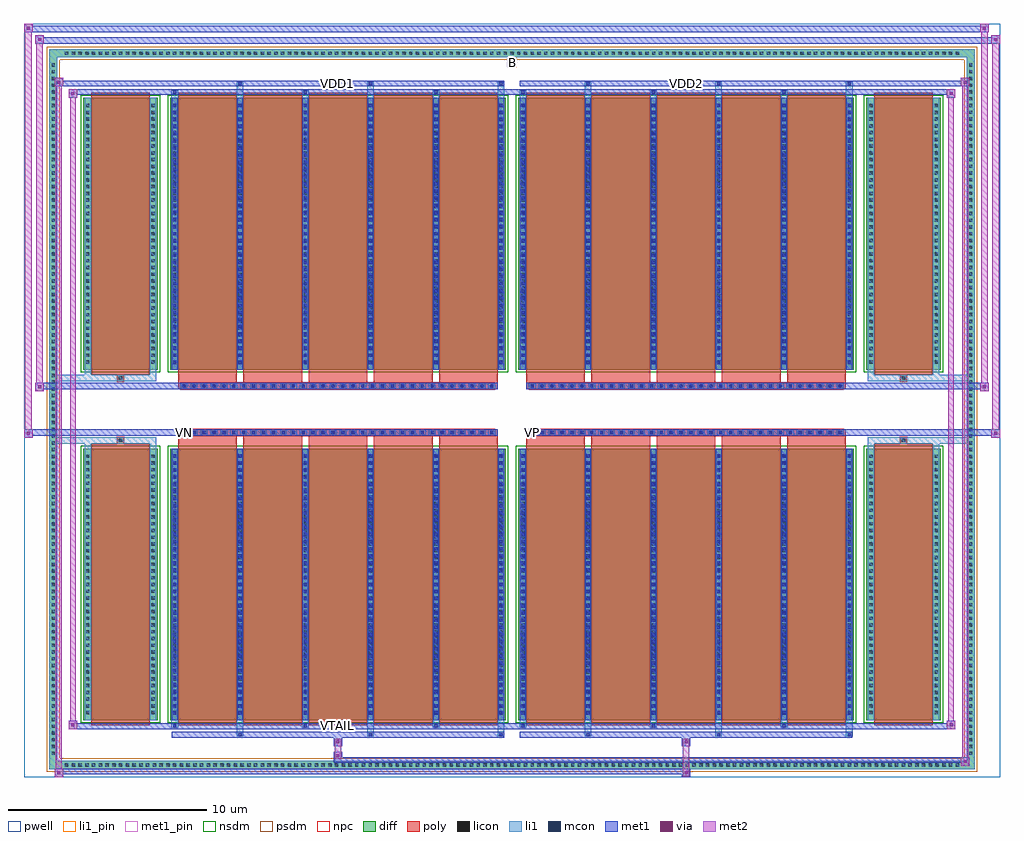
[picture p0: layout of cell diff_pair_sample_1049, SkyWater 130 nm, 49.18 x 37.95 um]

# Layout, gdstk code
import gdstk
lib = gdstk.Library(unit=1e-6, precision=5e-09)
def R(c, l, rs):  # rectangles x0, y0, x1, y1
    for r in rs: c.add(gdstk.rectangle(r[:2], r[2:], *l))
def A(c, l, x, y, w, h, nx, ny, dx, dy):  # array of equal rectangles
    R(c, l, [(x+i*dx, y+j*dy, x+i*dx+w, y+j*dy+h) for i in range(nx) for j in range(ny)])
def P(c, l, *ps):  # polygons
    for p in ps: c.add(gdstk.Polygon(p, *l))
pwell = (64, 44)
diff = (65, 20)
poly = (66, 20)
licon = (66, 44)
li1_pin = (67, 16)
li1 = (67, 20)
mcon = (67, 44)
met1_pin = (68, 16)
met1 = (68, 20)
via = (68, 44)
met2 = (69, 20)
nsdm = (93, 44)
psdm = (94, 20)
npc = (95, 20)

diff_pair_sample_1049 = lib.new_cell('diff_pair_sample_1049')
R(diff_pair_sample_1049, pwell, [(-24.59,-18.54,24.59,19.41), (-21.91,-16.73,-0.01,-0.805), (0.01,-16.73,21.91,-0.805), (-21.91,0.805,-0.01,16.73), (0.01,0.805,21.91,16.73)])
A(diff_pair_sample_1049, diff, -22.645, -18.14, 0.41, 0.41, 133, 2, 0.34, 35.87)
A(diff_pair_sample_1049, diff, -23.32, -17.545, 0.41, 0.41, 1, 103, 0, 0.34)
A(diff_pair_sample_1049, diff, 22.91, -17.545, 0.41, 0.41, 1, 103, 0, 0.34)
R(diff_pair_sample_1049, diff, [(-22.645,-18.14,22.645,-17.73), (-23.32,-17.545,-22.91,17.545), (22.91,-17.545,23.32,17.545), (-21.6,-15.685,-17.86,-1.985), (-17.22,-15.685,-0.32,-1.985), (0.32,-15.685,17.22,-1.985), (17.86,-15.685,21.6,-1.985), (-21.6,1.985,-17.86,15.685), (-17.22,1.985,-0.32,15.685), (0.32,1.985,17.22,15.685), (17.86,1.985,21.6,15.685), (-22.645,17.73,22.645,18.14)])
P(diff_pair_sample_1049, diff, [(23.32,18.14),(-23.32,18.14),(-23.32,-17.73),(-22.91,-17.73),(-22.91,17.73),(22.91,17.73),(22.91,-17.73),(-22.91,-17.73),(-23.32,-17.73),(-23.32,-18.14),(23.32,-18.14)])
A(diff_pair_sample_1049, poly, -16.83, -15.935, 2.96, 14.2, 5, 2, 3.29, 17.67)
A(diff_pair_sample_1049, poly, 0.71, -15.935, 2.96, 14.2, 5, 2, 3.29, 17.67)
A(diff_pair_sample_1049, poly, -16.83, -1.735, 2.96, 0.4, 5, 2, 3.29, 3.07)
A(diff_pair_sample_1049, poly, 0.71, -1.735, 2.96, 0.4, 5, 2, 3.29, 3.07)
A(diff_pair_sample_1049, poly, -16.685, -1.335, 0.33, 0.33, 32, 2, 0.5, 2.34)
A(diff_pair_sample_1049, poly, 0.855, -1.335, 0.33, 0.33, 32, 2, 0.5, 2.34)
R(diff_pair_sample_1049, poly, [(-21.21,-15.935,-18.25,-1.735), (18.25,-15.935,21.21,-1.735), (-19.895,-1.735,-19.565,-1.405), (-19.895,-1.735,-19.565,-1.405), (19.565,-1.735,19.895,-1.405), (19.565,-1.735,19.895,-1.405), (-16.83,-1.335,-0.71,-1.005), (0.71,-1.335,16.83,-1.005), (-16.83,1.005,-0.71,1.335), (0.71,1.005,16.83,1.335), (-19.895,1.405,-19.565,1.735), (-19.895,1.405,-19.565,1.735), (19.565,1.405,19.895,1.735), (19.565,1.405,19.895,1.735), (-21.21,1.735,-18.25,15.935), (18.25,1.735,21.21,15.935)])
A(diff_pair_sample_1049, licon, -22.525, -18.02, 0.17, 0.17, 133, 2, 0.34, 35.87)
A(diff_pair_sample_1049, licon, -23.2, -17.425, 0.17, 0.17, 1, 103, 0, 0.34)
A(diff_pair_sample_1049, licon, 23.03, -17.425, 0.17, 0.17, 1, 103, 0, 0.34)
A(diff_pair_sample_1049, licon, -21.46, -15.38, 0.17, 0.17, 1, 39, 0, 0.34)
A(diff_pair_sample_1049, licon, -18.17, -15.38, 0.17, 0.17, 1, 39, 0, 0.34)
A(diff_pair_sample_1049, licon, -17.08, -15.38, 0.17, 0.17, 6, 39, 3.29, 0.34)
A(diff_pair_sample_1049, licon, 0.46, -15.38, 0.17, 0.17, 6, 39, 3.29, 0.34)
A(diff_pair_sample_1049, licon, 18, -15.38, 0.17, 0.17, 1, 39, 0, 0.34)
A(diff_pair_sample_1049, licon, 21.29, -15.38, 0.17, 0.17, 1, 39, 0, 0.34)
A(diff_pair_sample_1049, licon, -16.605, -1.255, 0.17, 0.17, 32, 2, 0.5, 2.34)
A(diff_pair_sample_1049, licon, 0.935, -1.255, 0.17, 0.17, 32, 2, 0.5, 2.34)
A(diff_pair_sample_1049, licon, -21.46, 2.29, 0.17, 0.17, 1, 39, 0, 0.34)
A(diff_pair_sample_1049, licon, -18.17, 2.29, 0.17, 0.17, 1, 39, 0, 0.34)
A(diff_pair_sample_1049, licon, -17.08, 2.29, 0.17, 0.17, 6, 39, 3.29, 0.34)
A(diff_pair_sample_1049, licon, 0.46, 2.29, 0.17, 0.17, 6, 39, 3.29, 0.34)
A(diff_pair_sample_1049, licon, 18, 2.29, 0.17, 0.17, 1, 39, 0, 0.34)
A(diff_pair_sample_1049, licon, 21.29, 2.29, 0.17, 0.17, 1, 39, 0, 0.34)
R(diff_pair_sample_1049, licon, [(-19.815,-1.655,-19.645,-1.485), (19.645,-1.655,19.815,-1.485), (-19.815,1.485,-19.645,1.655), (19.645,1.485,19.815,1.655)])
R(diff_pair_sample_1049, li1_pin, [(-0.25,17.23,0.25,17.73)])
A(diff_pair_sample_1049, li1, -22.605, -18.1, 0.33, 0.33, 133, 2, 0.34, 35.87)
A(diff_pair_sample_1049, li1, -23.28, -17.505, 0.33, 0.33, 1, 103, 0, 0.34)
A(diff_pair_sample_1049, li1, 22.95, -17.505, 0.33, 0.33, 1, 103, 0, 0.34)
A(diff_pair_sample_1049, li1, -13.87, -16.49, 0.33, 0.805, 3, 2, 6.58, 32.175)
A(diff_pair_sample_1049, li1, -13.79, -16.49, 0.17, 0.17, 3, 2, 6.58, 32.81)
A(diff_pair_sample_1049, li1, 3.67, -16.49, 0.33, 0.805, 3, 2, 6.58, 32.175)
A(diff_pair_sample_1049, li1, 3.75, -16.49, 0.17, 0.17, 3, 2, 6.58, 32.81)
A(diff_pair_sample_1049, li1, -17.16, -16.06, 0.33, 0.375, 3, 2, 6.58, 31.745)
A(diff_pair_sample_1049, li1, -17.08, -16.06, 0.17, 0.17, 3, 2, 6.58, 31.95)
A(diff_pair_sample_1049, li1, 0.38, -16.06, 0.33, 0.375, 3, 2, 6.58, 31.745)
A(diff_pair_sample_1049, li1, 0.46, -16.06, 0.17, 0.17, 3, 2, 6.58, 31.95)
A(diff_pair_sample_1049, li1, -17.16, -15.685, 0.33, 13.7, 6, 2, 3.29, 17.67)
A(diff_pair_sample_1049, li1, 0.38, -15.685, 0.33, 13.7, 6, 2, 3.29, 17.67)
A(diff_pair_sample_1049, li1, -21.54, -15.46, 0.33, 0.33, 1, 39, 0, 0.34)
A(diff_pair_sample_1049, li1, -18.25, -15.46, 0.33, 0.33, 1, 39, 0, 0.34)
A(diff_pair_sample_1049, li1, -17.16, -15.46, 0.33, 0.33, 6, 39, 3.29, 0.34)
A(diff_pair_sample_1049, li1, 0.38, -15.46, 0.33, 0.33, 6, 39, 3.29, 0.34)
A(diff_pair_sample_1049, li1, 17.92, -15.46, 0.33, 0.33, 1, 39, 0, 0.34)
A(diff_pair_sample_1049, li1, 21.21, -15.46, 0.33, 0.33, 1, 39, 0, 0.34)
A(diff_pair_sample_1049, li1, -17.08, -15.4, 0.17, 0.17, 6, 37, 3.29, 0.36)
A(diff_pair_sample_1049, li1, -17.08, -15.4, 0.17, 13.13, 6, 2, 3.29, 17.67)
A(diff_pair_sample_1049, li1, 0.46, -15.4, 0.17, 0.17, 6, 37, 3.29, 0.36)
A(diff_pair_sample_1049, li1, 0.46, -15.4, 0.17, 13.13, 6, 2, 3.29, 17.67)
A(diff_pair_sample_1049, li1, -16.685, -1.335, 0.33, 0.33, 32, 2, 0.5, 2.34)
A(diff_pair_sample_1049, li1, 0.855, -1.335, 0.33, 0.33, 32, 2, 0.5, 2.34)
A(diff_pair_sample_1049, li1, -21.54, 2.21, 0.33, 0.33, 1, 39, 0, 0.34)
A(diff_pair_sample_1049, li1, -18.25, 2.21, 0.33, 0.33, 1, 39, 0, 0.34)
A(diff_pair_sample_1049, li1, -17.16, 2.21, 0.33, 0.33, 6, 39, 3.29, 0.34)
A(diff_pair_sample_1049, li1, 0.38, 2.21, 0.33, 0.33, 6, 39, 3.29, 0.34)
A(diff_pair_sample_1049, li1, 17.92, 2.21, 0.33, 0.33, 1, 39, 0, 0.34)
A(diff_pair_sample_1049, li1, 21.21, 2.21, 0.33, 0.33, 1, 39, 0, 0.34)
A(diff_pair_sample_1049, li1, -17.08, 2.27, 0.17, 0.17, 6, 37, 3.29, 0.36)
A(diff_pair_sample_1049, li1, 0.46, 2.27, 0.17, 0.17, 6, 37, 3.29, 0.36)
R(diff_pair_sample_1049, li1, [(-23.32,-18.14,-22.91,-17.73), (-23.32,-18.14,-22.91,-17.73), (-22.91,-18.14,22.91,-17.73), (22.91,-18.14,23.32,-17.73), (22.91,-18.14,23.32,-17.73), (-23.32,-17.73,-22.91,17.73), (22.91,-17.73,23.32,17.73), (-21.54,-15.685,-21.21,-1.985), (-18.25,-15.685,-17.92,-1.985), (17.92,-15.685,18.25,-1.985), (21.21,-15.685,21.54,-1.985), (-21.54,-1.985,-21.21,-1.405), (-18.25,-1.985,-17.92,-1.405), (17.92,-1.985,18.25,-1.405), (21.21,-1.985,21.54,-1.405), (-23.32,-1.735,-19.895,-1.405), (-21.54,-1.735,-19.895,-1.405), (-19.895,-1.735,-19.565,-1.405), (-19.565,-1.735,-17.92,-1.405), (17.92,-1.735,19.565,-1.405), (19.565,-1.735,19.895,-1.405), (19.565,-1.735,23.32,-1.405), (19.895,-1.735,21.54,-1.405), (-23.32,1.405,-19.895,1.735), (-21.54,1.405,-19.895,1.735), (-21.54,1.405,-21.21,1.985), (-19.895,1.405,-19.565,1.735), (-19.565,1.405,-17.92,1.735), (-18.25,1.405,-17.92,1.985), (17.92,1.405,19.565,1.735), (17.92,1.405,18.25,1.985), (19.565,1.405,19.895,1.735), (19.565,1.405,23.32,1.735), (19.895,1.405,21.54,1.735), (21.21,1.405,21.54,1.985), (-21.54,1.985,-21.21,15.685), (-18.25,1.985,-17.92,15.685), (17.92,1.985,18.25,15.685), (21.21,1.985,21.54,15.685), (-23.32,17.73,-22.91,18.14), (-23.32,17.73,-22.91,18.14), (-22.91,17.73,22.91,18.14), (22.91,17.73,23.32,18.14), (22.91,17.73,23.32,18.14)])
A(diff_pair_sample_1049, mcon, -13.79, -16.49, 0.17, 0.17, 3, 2, 6.58, 32.81)
A(diff_pair_sample_1049, mcon, 3.75, -16.49, 0.17, 0.17, 3, 2, 6.58, 32.81)
A(diff_pair_sample_1049, mcon, -17.08, -16.06, 0.17, 0.17, 3, 2, 6.58, 31.95)
A(diff_pair_sample_1049, mcon, 0.46, -16.06, 0.17, 0.17, 3, 2, 6.58, 31.95)
A(diff_pair_sample_1049, mcon, -17.08, -15.4, 0.17, 0.17, 6, 37, 3.29, 0.36)
A(diff_pair_sample_1049, mcon, 0.46, -15.4, 0.17, 0.17, 6, 37, 3.29, 0.36)
A(diff_pair_sample_1049, mcon, -16.605, -1.255, 0.17, 0.17, 32, 2, 0.5, 2.34)
A(diff_pair_sample_1049, mcon, 0.935, -1.255, 0.17, 0.17, 32, 2, 0.5, 2.34)
A(diff_pair_sample_1049, mcon, -17.08, 2.27, 0.17, 0.17, 6, 37, 3.29, 0.36)
A(diff_pair_sample_1049, mcon, 0.46, 2.27, 0.17, 0.17, 6, 37, 3.29, 0.36)
R(diff_pair_sample_1049, met1_pin, [(-8.905,-16.1,-8.635,-15.83), (-16.655,-1.295,-16.385,-1.025), (0.885,-1.295,1.155,-1.025), (-8.905,16.28,-8.635,16.55), (8.635,16.28,8.905,16.55)])
A(diff_pair_sample_1049, met1, -13.85, -16.55, 0.29, 0.29, 3, 2, 6.58, 32.81)
A(diff_pair_sample_1049, met1, 3.69, -16.55, 0.29, 0.29, 3, 2, 6.58, 32.81)
A(diff_pair_sample_1049, met1, -17.14, -16.12, 0.29, 0.29, 3, 2, 6.58, 31.95)
A(diff_pair_sample_1049, met1, 0.4, -16.12, 0.29, 0.29, 3, 2, 6.58, 31.95)
A(diff_pair_sample_1049, met1, -17.14, -15.685, 0.29, 13.7, 6, 2, 3.29, 17.67)
A(diff_pair_sample_1049, met1, 0.4, -15.685, 0.29, 13.7, 6, 2, 3.29, 17.67)
A(diff_pair_sample_1049, met1, -17.14, -15.46, 0.29, 0.29, 6, 37, 3.29, 0.36)
A(diff_pair_sample_1049, met1, 0.4, -15.46, 0.29, 0.29, 6, 37, 3.29, 0.36)
A(diff_pair_sample_1049, met1, -16.665, -1.315, 0.29, 0.29, 32, 2, 0.5, 2.34)
A(diff_pair_sample_1049, met1, 0.875, -1.315, 0.29, 0.29, 32, 2, 0.5, 2.34)
A(diff_pair_sample_1049, met1, -17.14, 2.21, 0.29, 0.29, 6, 37, 3.29, 0.36)
A(diff_pair_sample_1049, met1, 0.4, 2.21, 0.29, 0.29, 6, 37, 3.29, 0.36)
R(diff_pair_sample_1049, met1, [(-23.05,-18.54,-22.62,-18.11), (8.555,-18.54,8.985,-18.11), (-23.05,-18.4,8.985,-18.11), (22.62,-17.97,23.05,-17.54), (-8.985,-17.83,23.05,-17.54), (-8.985,-17.69,-8.555,-17.26), (-8.985,-16.98,-8.555,-16.55), (8.555,-16.98,8.985,-16.55), (-17.14,-16.55,-0.4,-16.26), (0.4,-16.55,17.14,-16.26), (-22.34,-16.12,-21.91,-15.69), (-22.34,-16.12,-17.14,-15.83), (-17.14,-16.12,-0.4,-15.83), (-0.4,-16.12,0.4,-15.83), (0.4,-16.12,17.14,-15.83), (17.14,-16.12,22.34,-15.83), (21.91,-16.12,22.34,-15.69), (-24.59,-1.435,-24.16,-1.005), (24.16,-1.435,24.59,-1.005), (-24.59,-1.335,-0.71,-1.005), (-16.83,-1.335,-0.71,-1.005), (0.71,-1.335,16.83,-1.005), (0.71,-1.335,24.59,-1.005), (-24.02,0.905,-23.59,1.335), (23.59,0.905,24.02,1.335), (-24.02,1.005,-16.83,1.335), (-16.83,1.005,-0.71,1.335), (0.71,1.005,16.83,1.335), (16.83,1.005,24.02,1.335), (-22.34,15.69,-21.91,16.12), (21.91,15.69,22.34,16.12), (-22.34,15.83,-17.14,16.12), (-17.14,15.83,-0.4,16.12), (-0.4,15.83,0.4,16.12), (0.4,15.83,17.14,16.12), (17.14,15.83,22.34,16.12), (-23.05,16.26,-22.62,16.69), (-23.05,16.26,-17.14,16.55), (-17.14,16.26,-0.4,16.55), (0.4,16.26,17.14,16.55), (17.14,16.26,23.05,16.55), (22.62,16.26,23.05,16.69), (-24.02,18.41,-23.59,18.84), (-24.02,18.41,-21.91,18.74), (-21.91,18.41,21.91,18.74), (21.91,18.41,24.59,18.74), (24.16,18.41,24.59,18.84), (-24.59,18.98,-24.16,19.41), (-24.59,18.98,-21.91,19.31), (-21.91,18.98,21.91,19.31), (21.91,18.98,24.02,19.31), (23.59,18.98,24.02,19.41)])
R(diff_pair_sample_1049, via, [(-22.91,-18.4,-22.76,-18.25), (8.695,-18.4,8.845,-18.25), (22.76,-17.83,22.91,-17.68), (-8.845,-17.55,-8.695,-17.4), (-8.845,-16.84,-8.695,-16.69), (8.695,-16.84,8.845,-16.69), (-22.2,-15.98,-22.05,-15.83), (22.05,-15.98,22.2,-15.83), (-24.45,-1.295,-24.3,-1.145), (24.3,-1.295,24.45,-1.145), (-23.88,1.045,-23.73,1.195), (23.73,1.045,23.88,1.195), (-22.2,15.83,-22.05,15.98), (22.05,15.83,22.2,15.98), (-22.91,16.4,-22.76,16.55), (22.76,16.4,22.91,16.55), (-23.88,18.55,-23.73,18.7), (24.3,18.55,24.45,18.7), (-24.45,19.12,-24.3,19.27), (23.73,19.12,23.88,19.27)])
R(diff_pair_sample_1049, met2, [(-23.05,-18.54,-22.62,-18.11), (-22.98,-18.54,-22.69,16.69), (-22.69,-18.54,-22.62,-18.11), (-23,-18.49,-22.67,-18.16), (8.605,-18.49,8.935,-18.16), (8.605,-18.16,8.935,-16.93), (22.62,-17.97,23.05,-17.54), (22.69,-17.97,22.98,16.69), (22.98,-17.97,23.05,-17.54), (22.67,-17.92,23,-17.59), (-8.935,-17.64,-8.605,-17.31), (-8.935,-17.31,-8.605,-16.93), (-8.935,-16.93,-8.605,-16.6), (8.605,-16.93,8.935,-16.6), (-22.34,-16.12,-21.91,-15.69), (-22.27,-16.12,-21.98,16.12), (-21.98,-16.12,-21.91,-15.69), (21.91,-16.12,22.34,-15.69), (21.98,-16.12,22.27,16.12), (22.27,-16.12,22.34,-15.69), (-22.29,-16.07,-21.96,-15.74), (21.96,-16.07,22.29,-15.74), (-24.59,-1.435,-24.16,-1.005), (-24.54,-1.435,-24.21,19.41), (-24.21,-1.435,-24.16,-1.005), (24.16,-1.435,24.59,-1.005), (24.21,-1.435,24.54,18.84), (24.54,-1.435,24.59,-1.005), (-24.54,-1.385,-24.21,-1.055), (24.21,-1.385,24.54,-1.055), (-24.02,0.905,-23.59,1.335), (-23.97,0.905,-23.64,18.84), (-23.64,0.905,-23.59,1.335), (23.59,0.905,24.02,1.335), (23.64,0.905,23.97,19.41), (23.97,0.905,24.02,1.335), (-23.97,0.955,-23.64,1.285), (23.64,0.955,23.97,1.285), (-22.34,15.69,-21.91,16.12), (-21.98,15.69,-21.91,16.12), (21.91,15.69,22.34,16.12), (22.27,15.69,22.34,16.12), (-22.29,15.74,-21.96,16.07), (21.96,15.74,22.29,16.07), (-23.05,16.26,-22.62,16.69), (-22.69,16.26,-22.62,16.69), (22.62,16.26,23.05,16.69), (22.98,16.26,23.05,16.69), (-23,16.31,-22.67,16.64), (22.67,16.31,23,16.64), (-24.02,18.41,-23.59,18.84), (-23.64,18.41,-23.59,18.84), (24.16,18.41,24.59,18.84), (24.54,18.41,24.59,18.84), (-23.97,18.46,-23.64,18.79), (24.21,18.46,24.54,18.79), (-24.59,18.98,-24.16,19.41), (-24.21,18.98,-24.16,19.41), (23.59,18.98,24.02,19.41), (23.97,18.98,24.02,19.41), (-24.54,19.03,-24.21,19.36), (23.64,19.03,23.97,19.36)])
R(diff_pair_sample_1049, nsdm, [(-21.73,-15.815,-17.73,-1.855), (-17.35,-15.815,-0.19,-1.855), (0.19,-15.815,17.35,-1.855), (17.73,-15.815,21.73,-1.855), (-21.73,1.855,-17.73,15.815), (-17.35,1.855,-0.19,15.815), (0.19,1.855,17.35,15.815), (17.73,1.855,21.73,15.815)])
P(diff_pair_sample_1049, psdm, [(23.45,18.27),(-23.45,18.27),(-23.45,-17.6),(-22.78,-17.6),(-22.78,17.6),(22.78,17.6),(22.78,-17.6),(-22.78,-17.6),(-23.45,-17.6),(-23.45,-18.27),(23.45,-18.27)])
A(diff_pair_sample_1049, npc, -16.705, -1.355, 0.37, 0.37, 32, 2, 0.5, 2.34)
A(diff_pair_sample_1049, npc, 0.835, -1.355, 0.37, 0.37, 32, 2, 0.5, 2.34)
R(diff_pair_sample_1049, npc, [(-19.915,-1.755,-19.545,-1.385), (19.545,-1.755,19.915,-1.385), (-16.705,-1.355,-15.835,-0.985), (-16.705,-1.355,-15.835,-0.985), (-16.205,-1.355,-15.335,-0.985), (-16.205,-1.355,-15.335,-0.985), (-15.705,-1.355,-14.835,-0.985), (-15.705,-1.355,-14.835,-0.985), (-15.205,-1.355,-14.335,-0.985), (-15.205,-1.355,-14.335,-0.985), (-14.705,-1.355,-13.835,-0.985), (-14.705,-1.355,-13.835,-0.985), (-14.205,-1.355,-13.335,-0.985), (-14.205,-1.355,-13.335,-0.985), (-13.705,-1.355,-12.835,-0.985), (-13.705,-1.355,-12.835,-0.985), (-13.205,-1.355,-12.335,-0.985), (-13.205,-1.355,-12.335,-0.985), (-12.705,-1.355,-11.835,-0.985), (-12.705,-1.355,-11.835,-0.985), (-12.205,-1.355,-11.335,-0.985), (-12.205,-1.355,-11.335,-0.985), (-11.705,-1.355,-10.835,-0.985), (-11.705,-1.355,-10.835,-0.985), (-11.205,-1.355,-10.335,-0.985), (-11.205,-1.355,-10.335,-0.985), (-10.705,-1.355,-9.835,-0.985), (-10.705,-1.355,-9.835,-0.985), (-10.205,-1.355,-9.335,-0.985), (-10.205,-1.355,-9.335,-0.985), (-9.705,-1.355,-8.835,-0.985), (-9.705,-1.355,-8.835,-0.985), (-9.205,-1.355,-8.335,-0.985), (-9.205,-1.355,-8.335,-0.985), (-8.705,-1.355,-7.835,-0.985), (-8.705,-1.355,-7.835,-0.985), (-8.205,-1.355,-7.335,-0.985), (-8.205,-1.355,-7.335,-0.985), (-7.705,-1.355,-6.835,-0.985), (-7.705,-1.355,-6.835,-0.985), (-7.205,-1.355,-6.335,-0.985), (-7.205,-1.355,-6.335,-0.985), (-6.705,-1.355,-5.835,-0.985), (-6.705,-1.355,-5.835,-0.985), (-6.205,-1.355,-5.335,-0.985), (-6.205,-1.355,-5.335,-0.985), (-5.705,-1.355,-4.835,-0.985), (-5.705,-1.355,-4.835,-0.985), (-5.205,-1.355,-4.335,-0.985), (-5.205,-1.355,-4.335,-0.985), (-4.705,-1.355,-3.835,-0.985), (-4.705,-1.355,-3.835,-0.985), (-4.205,-1.355,-3.335,-0.985), (-4.205,-1.355,-3.335,-0.985), (-3.705,-1.355,-2.835,-0.985), (-3.705,-1.355,-2.835,-0.985), (-3.205,-1.355,-2.335,-0.985), (-3.205,-1.355,-2.335,-0.985), (-2.705,-1.355,-1.835,-0.985), (-2.705,-1.355,-1.835,-0.985), (-2.205,-1.355,-1.335,-0.985), (-2.205,-1.355,-1.335,-0.985), (-1.705,-1.355,-0.835,-0.985), (-1.705,-1.355,-0.835,-0.985), (0.835,-1.355,1.705,-0.985), (0.835,-1.355,1.705,-0.985), (1.335,-1.355,2.205,-0.985), (1.335,-1.355,2.205,-0.985), (1.835,-1.355,2.705,-0.985), (1.835,-1.355,2.705,-0.985), (2.335,-1.355,3.205,-0.985), (2.335,-1.355,3.205,-0.985), (2.835,-1.355,3.705,-0.985), (2.835,-1.355,3.705,-0.985), (3.335,-1.355,4.205,-0.985), (3.335,-1.355,4.205,-0.985), (3.835,-1.355,4.705,-0.985), (3.835,-1.355,4.705,-0.985), (4.335,-1.355,5.205,-0.985), (4.335,-1.355,5.205,-0.985), (4.835,-1.355,5.705,-0.985), (4.835,-1.355,5.705,-0.985), (5.335,-1.355,6.205,-0.985), (5.335,-1.355,6.205,-0.985), (5.835,-1.355,6.705,-0.985), (5.835,-1.355,6.705,-0.985), (6.335,-1.355,7.205,-0.985), (6.335,-1.355,7.205,-0.985), (6.835,-1.355,7.705,-0.985), (6.835,-1.355,7.705,-0.985), (7.335,-1.355,8.205,-0.985), (7.335,-1.355,8.205,-0.985), (7.835,-1.355,8.705,-0.985), (7.835,-1.355,8.705,-0.985), (8.335,-1.355,9.205,-0.985), (8.335,-1.355,9.205,-0.985), (8.835,-1.355,9.705,-0.985), (8.835,-1.355,9.705,-0.985), (9.335,-1.355,10.205,-0.985), (9.335,-1.355,10.205,-0.985), (9.835,-1.355,10.705,-0.985), (9.835,-1.355,10.705,-0.985), (10.335,-1.355,11.205,-0.985), (10.335,-1.355,11.205,-0.985), (10.835,-1.355,11.705,-0.985), (10.835,-1.355,11.705,-0.985), (11.335,-1.355,12.205,-0.985), (11.335,-1.355,12.205,-0.985), (11.835,-1.355,12.705,-0.985), (11.835,-1.355,12.705,-0.985), (12.335,-1.355,13.205,-0.985), (12.335,-1.355,13.205,-0.985), (12.835,-1.355,13.705,-0.985), (12.835,-1.355,13.705,-0.985), (13.335,-1.355,14.205,-0.985), (13.335,-1.355,14.205,-0.985), (13.835,-1.355,14.705,-0.985), (13.835,-1.355,14.705,-0.985), (14.335,-1.355,15.205,-0.985), (14.335,-1.355,15.205,-0.985), (14.835,-1.355,15.705,-0.985), (14.835,-1.355,15.705,-0.985), (15.335,-1.355,16.205,-0.985), (15.335,-1.355,16.205,-0.985), (15.835,-1.355,16.705,-0.985), (15.835,-1.355,16.705,-0.985), (-16.705,0.985,-15.835,1.355), (-16.705,0.985,-15.835,1.355), (-16.205,0.985,-15.335,1.355), (-16.205,0.985,-15.335,1.355), (-15.705,0.985,-14.835,1.355), (-15.705,0.985,-14.835,1.355), (-15.205,0.985,-14.335,1.355), (-15.205,0.985,-14.335,1.355), (-14.705,0.985,-13.835,1.355), (-14.705,0.985,-13.835,1.355), (-14.205,0.985,-13.335,1.355), (-14.205,0.985,-13.335,1.355), (-13.705,0.985,-12.835,1.355), (-13.705,0.985,-12.835,1.355), (-13.205,0.985,-12.335,1.355), (-13.205,0.985,-12.335,1.355), (-12.705,0.985,-11.835,1.355), (-12.705,0.985,-11.835,1.355), (-12.205,0.985,-11.335,1.355), (-12.205,0.985,-11.335,1.355), (-11.705,0.985,-10.835,1.355), (-11.705,0.985,-10.835,1.355), (-11.205,0.985,-10.335,1.355), (-11.205,0.985,-10.335,1.355), (-10.705,0.985,-9.835,1.355), (-10.705,0.985,-9.835,1.355), (-10.205,0.985,-9.335,1.355), (-10.205,0.985,-9.335,1.355), (-9.705,0.985,-8.835,1.355), (-9.705,0.985,-8.835,1.355), (-9.205,0.985,-8.335,1.355), (-9.205,0.985,-8.335,1.355), (-8.705,0.985,-7.835,1.355), (-8.705,0.985,-7.835,1.355), (-8.205,0.985,-7.335,1.355), (-8.205,0.985,-7.335,1.355), (-7.705,0.985,-6.835,1.355), (-7.705,0.985,-6.835,1.355), (-7.205,0.985,-6.335,1.355), (-7.205,0.985,-6.335,1.355), (-6.705,0.985,-5.835,1.355), (-6.705,0.985,-5.835,1.355), (-6.205,0.985,-5.335,1.355), (-6.205,0.985,-5.335,1.355), (-5.705,0.985,-4.835,1.355), (-5.705,0.985,-4.835,1.355), (-5.205,0.985,-4.335,1.355), (-5.205,0.985,-4.335,1.355), (-4.705,0.985,-3.835,1.355), (-4.705,0.985,-3.835,1.355), (-4.205,0.985,-3.335,1.355), (-4.205,0.985,-3.335,1.355), (-3.705,0.985,-2.835,1.355), (-3.705,0.985,-2.835,1.355), (-3.205,0.985,-2.335,1.355), (-3.205,0.985,-2.335,1.355), (-2.705,0.985,-1.835,1.355), (-2.705,0.985,-1.835,1.355), (-2.205,0.985,-1.335,1.355), (-2.205,0.985,-1.335,1.355), (-1.705,0.985,-0.835,1.355), (-1.705,0.985,-0.835,1.355), (0.835,0.985,1.705,1.355), (0.835,0.985,1.705,1.355), (1.335,0.985,2.205,1.355), (1.335,0.985,2.205,1.355), (1.835,0.985,2.705,1.355), (1.835,0.985,2.705,1.355), (2.335,0.985,3.205,1.355), (2.335,0.985,3.205,1.355), (2.835,0.985,3.705,1.355), (2.835,0.985,3.705,1.355), (3.335,0.985,4.205,1.355), (3.335,0.985,4.205,1.355), (3.835,0.985,4.705,1.355), (3.835,0.985,4.705,1.355), (4.335,0.985,5.205,1.355), (4.335,0.985,5.205,1.355), (4.835,0.985,5.705,1.355), (4.835,0.985,5.705,1.355), (5.335,0.985,6.205,1.355), (5.335,0.985,6.205,1.355), (5.835,0.985,6.705,1.355), (5.835,0.985,6.705,1.355), (6.335,0.985,7.205,1.355), (6.335,0.985,7.205,1.355), (6.835,0.985,7.705,1.355), (6.835,0.985,7.705,1.355), (7.335,0.985,8.205,1.355), (7.335,0.985,8.205,1.355), (7.835,0.985,8.705,1.355), (7.835,0.985,8.705,1.355), (8.335,0.985,9.205,1.355), (8.335,0.985,9.205,1.355), (8.835,0.985,9.705,1.355), (8.835,0.985,9.705,1.355), (9.335,0.985,10.205,1.355), (9.335,0.985,10.205,1.355), (9.835,0.985,10.705,1.355), (9.835,0.985,10.705,1.355), (10.335,0.985,11.205,1.355), (10.335,0.985,11.205,1.355), (10.835,0.985,11.705,1.355), (10.835,0.985,11.705,1.355), (11.335,0.985,12.205,1.355), (11.335,0.985,12.205,1.355), (11.835,0.985,12.705,1.355), (11.835,0.985,12.705,1.355), (12.335,0.985,13.205,1.355), (12.335,0.985,13.205,1.355), (12.835,0.985,13.705,1.355), (12.835,0.985,13.705,1.355), (13.335,0.985,14.205,1.355), (13.335,0.985,14.205,1.355), (13.835,0.985,14.705,1.355), (13.835,0.985,14.705,1.355), (14.335,0.985,15.205,1.355), (14.335,0.985,15.205,1.355), (14.835,0.985,15.705,1.355), (14.835,0.985,15.705,1.355), (15.335,0.985,16.205,1.355), (15.335,0.985,16.205,1.355), (15.835,0.985,16.705,1.355), (15.835,0.985,16.705,1.355), (-19.915,1.385,-19.545,1.755), (19.545,1.385,19.915,1.755)])
diff_pair_sample_1049.add(gdstk.Label('VTAIL', (-8.77,-15.965), layer=68, texttype=5))
diff_pair_sample_1049.add(gdstk.Label('VN', (-16.52,-1.16), layer=68, texttype=5))
diff_pair_sample_1049.add(gdstk.Label('VP', (1.02,-1.16), layer=68, texttype=5))
diff_pair_sample_1049.add(gdstk.Label('B', (0,17.48), layer=67, texttype=5))
diff_pair_sample_1049.add(gdstk.Label('VDD2', (8.77,16.415), layer=68, texttype=5))
diff_pair_sample_1049.add(gdstk.Label('VDD1', (-8.77,16.415), layer=68, texttype=5))

lib.write_gds('diff_pair_sample_1049.gds')
